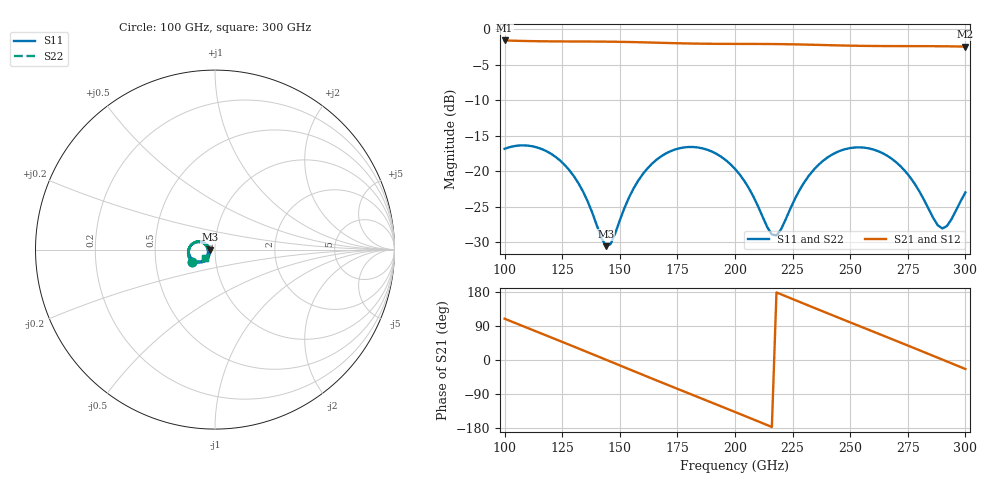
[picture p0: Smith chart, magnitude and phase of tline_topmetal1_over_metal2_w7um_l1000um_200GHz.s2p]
#  GHZ S DB R 50
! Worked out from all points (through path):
!   101 points, 100 GHz to 300 GHz, reference 50 ohm
!   highest |S21| = -1.57 dB at 100 GHz (marker M1); lowest = -2.4 dB at 300 GHz (marker M2)
!   group delay of S21, straight-line fit = 6.84 ps
!   lowest |S11| = -30.6 dB at 144 GHz (marker M3), VSWR 1.06, Z = 47.1 - j0.104 ohm
!   |S11| at or under -10 dB: start of sweep to end of sweep
!   |S22| runs from -30.6 to -16.4 dB; largest |S21 - S12| = 8.8e-14
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100  -16.86 -151.9  -1.57 108.9  -1.57 108.9  -16.85 -151.7
108  -16.37 -168.7  -1.64 89.3  -1.64 89.3  -16.36 -168.5
116  -16.88 174.8  -1.69 69.8  -1.69 69.8  -16.87 175.0
126  -19.11 156.2  -1.71 45.3  -1.71 45.3  -19.10 156.4
134  -22.86 146.7  -1.72 25.6  -1.72 25.6  -22.85 146.9
144  -30.59 -177.9  -1.74 0.7  -1.74 0.7  -30.57 -177.7
146  -30.29 -157.9  -1.75 -4.2  -1.75 -4.2  -30.27 -157.8
156  -22.43 -130.2  -1.81 -29.2  -1.81 -29.2  -22.42 -130.1
168  -17.91 -147.2  -1.91 -58.9  -1.91 -58.9  -17.90 -147.0
176  -16.77 -162.3  -1.97 -78.5  -1.97 -78.5  -16.76 -162.1
184  -16.67 -177.8  -2.02 -98.0  -2.02 -98.0  -16.67 -177.6
200  -19.69 154.6  -2.06 -137.1  -2.06 -137.1  -19.69 154.8
210  -24.96 151.2  -2.07 -161.8  -2.07 -161.8  -24.99 151.3
216  -28.95 177.4  -2.08 -176.7  -2.08 -176.7  -29.02 177.6
218  -29.08 -166.8  -2.08 178.3  -2.08 178.3  -29.15 -166.4
234  -19.88 -139.6  -2.18 138.5  -2.18 138.5  -19.88 -139.1
244  -17.36 -155.3  -2.26 113.9  -2.26 113.9  -17.35 -154.8
252  -16.67 -169.8  -2.32 94.4  -2.32 94.4  -16.66 -169.3
268  -18.25 162.2  -2.37 55.4  -2.37 55.4  -18.24 162.8
280  -22.85 151.3  -2.37 25.9  -2.37 25.9  -22.83 151.9
290  -28.10 -174.7  -2.39 1.1  -2.39 1.1  -28.03 -174.1
300  -23.01 -138.7  -2.44 -23.8  -2.44 -23.8  -22.97 -138.3
